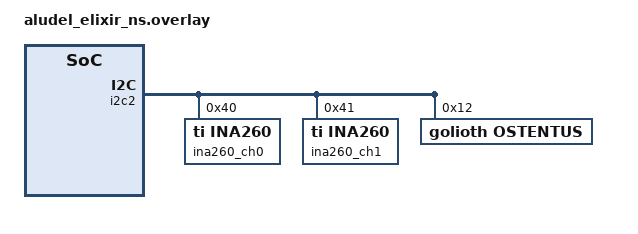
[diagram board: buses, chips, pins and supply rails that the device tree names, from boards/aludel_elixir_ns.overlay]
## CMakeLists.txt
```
# Copyright (c) 2022-2023 Golioth, Inc.
# SPDX-License-Identifier: Apache-2.0

cmake_minimum_required(VERSION 3.20.0)

find_package(Zephyr REQUIRED HINTS $ENV{ZEPHYR_BASE})

project(powermonitor)

target_sources(app PRIVATE src/main.c)
target_sources(app PRIVATE src/app_rpc.c)
target_sources(app PRIVATE src/app_settings.c)
target_sources(app PRIVATE src/app_state.c)
target_sources(app PRIVATE src/app_sensors.c)
```

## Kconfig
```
# Copyright (c) 2022-2023 Golioth, Inc.
# SPDX-License-Identifier: Apache-2.0

mainmenu "Golioth application options"

if DNS_RESOLVER

config DNS_SERVER_IP_ADDRESSES
	default y

config DNS_SERVER1
	default "1.1.1.1"

endif # DNS_RESOLVER

rsource "drivers/Kconfig"
rsource "src/battery_monitor/Kconfig"

source "Kconfig.zephyr"
```

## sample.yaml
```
# Copyright (c) 2022-2023 Golioth, Inc.
# SPDX-License-Identifier: Apache-2.0

sample:
  description: Golioth Power Monitor Reference Design
  name: powermonitor
common:
  harness: net
  platform_allow: >
    nrf9160dk_nrf9160_ns
  tags: golioth
```

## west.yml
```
# Copyright (c) 2022-2023 Golioth, Inc.
# SPDX-License-Identifier: Apache-2.0

manifest:
  version: 1.0

  projects:
    - name: golioth
      path: modules/lib/golioth-firmware-sdk
      revision: v0.21.0
      url: https://github.com/golioth/golioth-firmware-sdk.git
      west-commands: scripts/west-commands.yml
      submodules: true
      import:
        file: west-ncs.yml
        path-prefix: deps
        name-allowlist:
          - nrf
          - zephyr
          - cmsis_6
          - hal_nordic
          - mbedtls
          - mbedtls-nrf
          - mcuboot
          - net-tools
          - nrfxlib
          - oberon-psa-crypto
          - qcbor
          - segger
          - tfm-mcuboot
          - tinycrypt
          - trusted-firmware-m
          - zcbor

    - name: golioth-zephyr-boards
      path: deps/modules/lib/golioth-boards
      revision: v2.1.1
      url: https://github.com/golioth/golioth-zephyr-boards

    - name: libostentus
      path: deps/modules/lib/libostentus
      revision: v2.0.0
      url: https://github.com/golioth/libostentus

    - name: zephyr-network-info
      path: deps/modules/lib/network-info
      revision: v1.2.0
      url: https://github.com/golioth/zephyr-network-info

    - name: golioth-battery-monitor
      path: deps/modules/lib/battery-monitor
      revision: v1.1.0
      url: https://github.com/golioth/battery-monitor

    - name: golioth-ina260-driver
      path: deps/modules/lib/ina260
      revision: v1.0.0
      url: https://github.com/golioth/zephyr-ina260.git

  self:
    path: app
```

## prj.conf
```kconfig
# Copyright (c) 2022-2023 Golioth, Inc.
# SPDX-License-Identifier: Apache-2.0

# Enable Golioth Firmware SDK
CONFIG_GOLIOTH_FIRMWARE_SDK=y

# Golioth services used in this app
CONFIG_GOLIOTH_FW_UPDATE=y
CONFIG_GOLIOTH_LIGHTDB_STATE=y
CONFIG_LOG_BACKEND_GOLIOTH=y
CONFIG_GOLIOTH_RPC=y
CONFIG_GOLIOTH_SETTINGS=y
CONFIG_GOLIOTH_STREAM=y

# Enable common sample library
CONFIG_GOLIOTH_SAMPLE_COMMON=y

# Configure Golioth SDK dependencies
CONFIG_ZVFS_EVENTFD_MAX=14
CONFIG_ZVFS_OPEN_MAX=23
CONFIG_LOG_PROCESS_THREAD_STACK_SIZE=1536
CONFIG_MBEDTLS_ENABLE_HEAP=y
CONFIG_MBEDTLS_HEAP_SIZE=10240
CONFIG_NETWORKING=y
CONFIG_NET_IPV4=y
CONFIG_COAP_EXTENDED_OPTIONS_LEN=y
CONFIG_COAP_EXTENDED_OPTIONS_LEN_VALUE=39

# Application
CONFIG_MAIN_STACK_SIZE=2048
CONFIG_NET_LOG=y
CONFIG_NET_SHELL=y
CONFIG_REBOOT=y

# Flash memory (etc.) for firmware upgrade
CONFIG_FLASH=y
CONFIG_FLASH_MAP=y
CONFIG_NVS=y
CONFIG_STREAM_FLASH=y
CONFIG_IMG_MANAGER=y
CONFIG_IMG_ERASE_PROGRESSIVELY=y
CONFIG_REBOOT=y

# The rest of the runtime credentials config
CONFIG_SETTINGS=y
CONFIG_SETTINGS_RUNTIME=y
CONFIG_GOLIOTH_SAMPLE_SETTINGS_AUTOLOAD=y
CONFIG_GOLIOTH_SAMPLE_SETTINGS_SHELL=y

# Misc.
CONFIG_JSON_LIBRARY=y

# Longer response length needed for network info
CONFIG_GOLIOTH_RPC_MAX_RESPONSE_LEN=512
CONFIG_I2C=y

CONFIG_SENSOR=y

# Support float with snprintk
CONFIG_CBPRINTF_FP_SUPPORT=y
```

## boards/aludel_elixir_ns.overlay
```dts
&i2c2 {
	/* Needed for I2C writes used by libostentus */
	zephyr,concat-buf-size = <48>;

	ina260_ch0: ina260@40 {
		compatible = "ti,ina260";
		reg = <0x40>;
	};
	ina260_ch1: ina260@41 {
		compatible = "ti,ina260";
		reg = <0x41>;
	};

	ostentus@12 {
		status = "okay";
		compatible = "golioth,ostentus";
		reg = <0x12>;
	};
};
```

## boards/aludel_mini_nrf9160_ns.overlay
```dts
&i2c2 {
	/* Needed for I2C writes used by libostentus */
	zephyr,concat-buf-size = <48>;

	ina260_ch0: ina260@40 {
		compatible = "ti,ina260";
		reg = <0x40>;
	};
	ina260_ch1: ina260@41 {
		compatible = "ti,ina260";
		reg = <0x41>;
	};

	ostentus@12 {
		status = "okay";
		compatible = "golioth,ostentus";
		reg = <0x12>;
	};
};

&adc {
	#address-cells = <1>;
	#size-cells = <0>;

	channel@7 {
		reg = <7>;
		zephyr,gain = "ADC_GAIN_1_6";
		zephyr,reference = "ADC_REF_INTERNAL";
		zephyr,acquisition-time = <ADC_ACQ_TIME(ADC_ACQ_TIME_MICROSECONDS, 40)>;
		zephyr,input-positive = <NRF_SAADC_AIN7>;
		zephyr,resolution = <14>;
	};
};
```

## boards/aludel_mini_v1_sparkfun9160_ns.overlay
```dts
&i2c1 {
	zephyr,concat-buf-size = <48>;

	ina260_ch0: ina260@40 {
		compatible = "ti,ina260";
		reg = <0x40>;
	};
	ina260_ch1: ina260@41 {
		compatible = "ti,ina260";
		reg = <0x41>;
	};
};
```

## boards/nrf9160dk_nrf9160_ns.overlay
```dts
/*
 * Copyright (c) 2023 Golioth, Inc.
 *
 * SPDX-License-Identifier: Apache-2.0
 */

/ {
	aliases {
		golioth-led = &led2;
	};
};

&arduino_i2c {
	/* Needed for I2C writes used by libostentus */
	zephyr,concat-buf-size = <48>;

	ina260_ch0: ina260@40 {
		compatible = "ti,ina260";
		reg = <0x40>;
	};
	ina260_ch1: ina260@41 {
		compatible = "ti,ina260";
		reg = <0x41>;
	};
};

&pinctrl {
	/*
	 * Arduino Uno provides the same SCL/SDA on two sets of pins, but the
	 * nRF9160-DK maps these pins to two different pairs of GPIO. When using
	 * the Arduino Uno Click Shield board, the P0.18/P0.19 pair must be used.
	 */
	i2c2_default: i2c2_default {
		group1 {
			psels = <NRF_PSEL(TWIM_SDA, 0, 18)>,
				<NRF_PSEL(TWIM_SCL, 0, 19)>;
			bias-pull-up; /* Added for VCP Monitor Click with pull-ups removed */
		};
	};

	i2c2_sleep: i2c2_sleep {
		group1 {
			psels = <NRF_PSEL(TWIM_SDA, 0, 18)>,
				<NRF_PSEL(TWIM_SCL, 0, 19)>;
			low-power-enable;
		};
	};

	/*
	 * The default pin group includes RTS/CTS HW flow control, but the Arduino
	 * Uno Click Shield board does not connect these pins (only TX/RX are used).
	 * This keeps RX/TX on the same pins, but just removes RTS/CTS from the
	 * pin groups.
	 */
	uart1_default: uart1_default {
		group1 {
			psels = <NRF_PSEL(UART_TX, 0, 1)>,
				<NRF_PSEL(UART_RX, 0, 0)>;
		};
	};

	uart1_sleep: uart1_sleep {
		group1 {
			psels = <NRF_PSEL(UART_TX, 0, 1)>,
				<NRF_PSEL(UART_RX, 0, 0)>;
			low-power-enable;
		};
	};
};
```

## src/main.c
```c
/*
 * Copyright (c) 2022-2023 Golioth, Inc.
 *
 * SPDX-License-Identifier: Apache-2.0
 */

#include <zephyr/logging/log.h>
LOG_MODULE_REGISTER(golioth_powermonitor, LOG_LEVEL_DBG);

#include <app_version.h>
#include "app_rpc.h"
#include "app_settings.h"
#include "app_state.h"
#include "app_sensors.h"
#include <golioth/client.h>
#include <golioth/fw_update.h>
#include <samples/common/net_connect.h>
#include <samples/common/sample_credentials.h>
#include <zephyr/kernel.h>

#ifdef CONFIG_SOC_SERIES_NRF91X
#include <modem/lte_lc.h>
#endif
#ifdef CONFIG_LIB_OSTENTUS
#include <libostentus.h>
#include <libostentus_regmap.h>
static const struct device *o_dev = DEVICE_DT_GET_ANY(golioth_ostentus);
#endif
#ifdef CONFIG_ALUDEL_BATTERY_MONITOR
#include <battery_monitor.h>
#endif

#include <zephyr/drivers/gpio.h>

#ifdef CONFIG_MODEM_INFO
#include <modem/modem_info.h>
#endif

/* Current firmware version; update in VERSION */
static const char *_current_version =
	STRINGIFY(APP_VERSION_MAJOR) "." STRINGIFY(APP_VERSION_MINOR) "." STRINGIFY(APP_PATCHLEVEL);

static struct golioth_client *client;
K_SEM_DEFINE(connected, 0, 1);

static k_tid_t _system_thread = 0;

#if DT_NODE_EXISTS(DT_ALIAS(golioth_led))
static const struct gpio_dt_spec golioth_led = GPIO_DT_SPEC_GET(DT_ALIAS(golioth_led), gpios);
#endif /* DT_NODE_EXISTS(DT_ALIAS(golioth_led)) */
static const struct gpio_dt_spec user_btn = GPIO_DT_SPEC_GET(DT_ALIAS(sw1), gpios);
static struct gpio_callback button_cb_data;

/* forward declarations */
void golioth_connection_led_set(uint8_t state);

void wake_system_thread(void)
{
	k_wakeup(_system_thread);
}

static void on_client_event(struct golioth_client *client, enum golioth_client_event event,
			    void *arg)
{
	bool is_connected = (event == GOLIOTH_CLIENT_EVENT_CONNECTED);

	if (is_connected) {
		k_sem_give(&connected);
		golioth_connection_led_set(1);
	}
	LOG_INF("Golioth client %s", is_connected ? "connected" : "disconnected");
}

static void start_golioth_client(void)
{
	/* Get the client configuration from auto-loaded settings */
	const struct golioth_client_config *client_config = golioth_sample_credentials_get();

	/* Create and start a Golioth Client */
	client = golioth_client_create(client_config);

	/* Register Golioth on_connect callback */
	golioth_client_register_event_callback(client, on_client_event, NULL);

	/* Initialize DFU components */
	golioth_fw_update_init(client, _current_version);

	/*** Call Golioth APIs for other services in dedicated app files ***/

	/* Observe State service data */
	app_state_observe(client);

	/* Set Golioth Client for streaming sensor data */
	app_sensors_set_client(client);

	/* Register Settings service */
	app_settings_register(client);

	/* Register RPC service */
	app_rpc_register(client);
}

#ifdef CONFIG_SOC_SERIES_NRF91X

static void lte_handler(const struct lte_lc_evt *const evt)
{
	if (evt->type == LTE_LC_EVT_NW_REG_STATUS) {

		if ((evt->nw_reg_status == LTE_LC_NW_REG_REGISTERED_HOME) ||
		    (evt->nw_reg_status == LTE_LC_NW_REG_REGISTERED_ROAMING)) {

			/* Change the state of the Internet LED on Ostentus */
			IF_ENABLED(CONFIG_LIB_OSTENTUS, (ostentus_led_internet_set(o_dev, 1);));

			if (!client) {
				/* Create and start a Golioth Client */
				start_golioth_client();
			}
		}
	}
}

#endif /* CONFIG_SOC_SERIES_NRF91X */

#ifdef CONFIG_MODEM_INFO
static void log_modem_firmware_version(void)
{
	char sbuf[128];

	/* Initialize modem info */
	int err = modem_info_init();

	if (err) {
		LOG_ERR("Failed to initialize modem info: %d", err);
	}

	/* Log modem firmware version */
	modem_info_string_get(MODEM_INFO_FW_VERSION, sbuf, sizeof(sbuf));
	LOG_INF("Modem firmware version: %s", sbuf);
}
#endif

void button_pressed(const struct device *dev, struct gpio_callback *cb, uint32_t pins)
{
	LOG_DBG("Button pressed at %d", k_cycle_get_32());
	/* This function is an Interrupt Service Routine. Do not call functions that
	 * use other threads, or perform long-running operations here
	 */
	k_wakeup(_system_thread);
}

/* Set (unset) LED indicators for active Golioth connection */
void golioth_connection_led_set(uint8_t state)
{
	uint8_t pin_state = state ? 1 : 0;
	ARG_UNUSED(pin_state); /* silence warning if no LED/Ostentus present */

	/* Turn on Golioth logo LED once connected */
	IF_ENABLED(DT_NODE_EXISTS(DT_ALIAS(golioth_led)),
		(gpio_pin_set_dt(&golioth_led, pin_state);));

	/* Change the state of the Golioth LED on Ostentus */
	IF_ENABLED(CONFIG_LIB_OSTENTUS, (ostentus_led_golioth_set(o_dev, pin_state);));
}

int main(void)
{
	int err;

	LOG_DBG("Start Power Monitor Reference Design");

	LOG_INF("Firmware version: %s", _current_version);
	IF_ENABLED(CONFIG_MODEM_INFO, (log_modem_firmware_version();));

	IF_ENABLED(CONFIG_LIB_OSTENTUS, (
		/* Reset Ostentus and pause for reboot */
		ostentus_reset(o_dev);
		k_msleep(300);

		/* Read firmware version from faceplate */
		char *o_version = (char *)calloc(32, sizeof(char));

		ostentus_version_get(o_dev, o_version, 32);
		LOG_INF("Ostentus reports firmware version: %s", o_version);
		free(o_version);

		/* Update Ostentus LEDS using bitmask (Power On and Battery) */
		ostentus_led_bitmask(o_dev, LED_POW | LED_BAT);

		/* Show Golioth Logo on Ostentus ePaper screen */
		ostentus_show_splash(o_dev);
	));

	/* Get system thread id so loop delay change event can wake main */
	_system_thread = k_current_get();

	/* Initialize Sensors */
	app_sensors_init();

#if DT_NODE_EXISTS(DT_ALIAS(golioth_led))
	/* Initialize Golioth logo LED */
	err = gpio_pin_configure_dt(&golioth_led, GPIO_OUTPUT_INACTIVE);
	if (err) {
		LOG_ERR("Unable to configure LED for Golioth Logo");
	}
#endif /* #if DT_NODE_EXISTS(DT_ALIAS(golioth_led)) */

#ifdef CONFIG_SOC_SERIES_NRF91X
	/* Start LTE asynchronously if the nRF9160 is used.
	 * Golioth Client will start automatically when LTE connects
	 */

	LOG_INF("Connecting to LTE, this may take some time...");
	lte_lc_connect_async(lte_handler);

#else
	/* If nRF9160 is not used, start the Golioth Client and block until connected */

	/* Run WiFi/DHCP if necessary */
	if (IS_ENABLED(CONFIG_GOLIOTH_SAMPLE_COMMON)) {
		net_connect();
	}

	/* Start Golioth client */
	start_golioth_client();

	/* Block until connected to Golioth */
	k_sem_take(&connected, K_FOREVER);
#endif /* CONFIG_SOC_SERIES_NRF91X */

	/* Set up user button */
	err = gpio_pin_configure_dt(&user_btn, GPIO_INPUT);
	if (err) {
		LOG_ERR("Error %d: failed to configure %s pin %d", err, user_btn.port->name,
			user_btn.pin);
		return err;
	}

	err = gpio_pin_interrupt_configure_dt(&user_btn, GPIO_INT_EDGE_TO_ACTIVE);
	if (err) {
		LOG_ERR("Error %d: failed to configure interrupt on %s pin %d", err,
			user_btn.port->name, user_btn.pin);
		return err;
	}

	gpio_init_callback(&button_cb_data, button_pressed, BIT(user_btn.pin));
	gpio_add_callback(user_btn.port, &button_cb_data);

	IF_ENABLED(CONFIG_LIB_OSTENTUS,(
		/* Set up a slideshow on Ostentus
		 *  - add up to 256 slides
		 *  - use the enum in app_sensors.h to add new keys
		 *  - values are updated using these keys (see app_sensors.c)
		 */
		ostentus_slide_add(o_dev, CH0_CURRENT, CH0_CUR_LABEL, strlen(CH0_CUR_LABEL));
		ostentus_slide_add(o_dev, CH0_POWER, CH0_POW_LABEL, strlen(CH0_POW_LABEL));
		ostentus_slide_add(o_dev, CH0_VOLTAGE, CH0_VOL_LABEL, strlen(CH0_VOL_LABEL));
		ostentus_slide_add(o_dev, CH1_CURRENT, CH1_CUR_LABEL, strlen(CH1_CUR_LABEL));
		ostentus_slide_add(o_dev, CH1_POWER, CH1_POW_LABEL, strlen(CH1_POW_LABEL));
		ostentus_slide_add(o_dev, CH1_VOLTAGE, CH1_VOL_LABEL, strlen(CH1_VOL_LABEL));
		IF_ENABLED(CONFIG_ALUDEL_BATTERY_MONITOR, (
			ostentus_slide_add(o_dev,
					   BATTERY_V,
					   LABEL_BATTERY,
					   strlen(LABEL_BATTERY));
			ostentus_slide_add(o_dev,
					   BATTERY_PCT,
					   LABEL_BATTERY,
					   strlen(LABEL_BATTERY));
		));
		ostentus_slide_add(o_dev, FIRMWARE, LABEL_FIRMWARE, strlen(LABEL_FIRMWARE));

		/* Set the title of the Ostentus summary slide (optional) */
		ostentus_summary_title(o_dev, SUMMARY_TITLE, strlen(SUMMARY_TITLE));

		/* Update the Firmware slide with the firmware version */
		ostentus_slide_set(o_dev, FIRMWARE, (char *)_current_version,
			  strlen(_current_version));

		/* Start Ostentus slideshow with 30 second delay between slides */
		ostentus_slideshow(o_dev, 30000);
	));

	while (true) {
		app_sensors_read_and_stream();

		k_sleep(K_SECONDS(get_loop_delay_s()));
	}
}
```

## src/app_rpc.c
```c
/*
 * Copyright (c) 2022 Golioth, Inc.
 *
 * SPDX-License-Identifier: Apache-2.0
 */

#include <zephyr/logging/log.h>
#include <zephyr/logging/log_ctrl.h>
LOG_MODULE_REGISTER(app_rpc, LOG_LEVEL_DBG);

#include <net/golioth/system_client.h>
#include <net/golioth/rpc.h>
#include <zephyr/logging/log_ctrl.h>
#include <zephyr/sys/reboot.h>

#include <network_info.h>
#include "app_rpc.h"

static struct golioth_client *client;

static void reboot_work_handler(struct k_work *work)
{
	for (int8_t i = 5; i >= 0; i--) {
		if (i) {
			LOG_INF("Rebooting in %d seconds...", i);
		}
		k_sleep(K_SECONDS(1));
	}

	/* Sync logs before reboot */
	LOG_PANIC();

	sys_reboot(SYS_REBOOT_COLD);
}
K_WORK_DEFINE(reboot_work, reboot_work_handler);

static enum golioth_rpc_status on_get_network_info(zcbor_state_t *request_params_array,
						   zcbor_state_t *response_detail_map,
					  	   void *callback_arg)
{
	network_info_add_to_map(response_detail_map);

	return GOLIOTH_RPC_OK;
}

static enum golioth_rpc_status on_set_log_level(zcbor_state_t *request_params_array,
						zcbor_state_t *response_detail_map,
					  	void *callback_arg)
{
	double param_0;
	uint8_t log_level;
	bool ok;

	LOG_WRN("on_set_log_level");

	ok = zcbor_float_decode(request_params_array, &param_0);
	if (!ok) {
		LOG_ERR("Failed to decode array item");
		return GOLIOTH_RPC_INVALID_ARGUMENT;
	}

	log_level = (uint8_t)param_0;

	if ((log_level < 0) || (log_level > LOG_LEVEL_DBG)) {

		LOG_ERR("Requested log level is out of bounds: %d", log_level);
		return GOLIOTH_RPC_INVALID_ARGUMENT;
	}

	int source_id = 0;
	char *source_name;

	while (1) {
		source_name = (char *)log_source_name_get(0, source_id);
		if (source_name == NULL) {
			break;
		}

		log_filter_set(NULL, 0, source_id, log_level);
		++source_id;
	}

	LOG_WRN("Log levels for %d modules set to: %d", source_id, log_level);

	ok = zcbor_tstr_put_lit(response_detail_map, "log_modules") &&
	     zcbor_float64_put(response_detail_map, (double)source_id);

	return GOLIOTH_RPC_OK;
}

static enum golioth_rpc_status on_reboot(zcbor_state_t *request_params_array,
					 zcbor_state_t *response_detail_map,
					 void *callback_arg)
{
	/* Use work queue so this RPC can return confirmation to Golioth */
	k_work_submit(&reboot_work);

	return GOLIOTH_RPC_OK;
}

static void rpc_log_if_register_failure(int err)
{
	if (err) {
		LOG_ERR("Failed to register RPC: %d", err);
	}
}

int app_rpc_init(struct golioth_client *state_client)
{
	client = state_client;
	int err = app_rpc_register(client);
	return err;
}

int app_rpc_observe(void)
{
	int err = golioth_rpc_observe(client);

	if (err) {
		LOG_ERR("Failed to observe RPC: %d", err);
	}
	return err;
}

int app_rpc_register(struct golioth_client *rpc_client)
{
	int err;

	err = golioth_rpc_register(rpc_client, "get_network_info", on_get_network_info, NULL);
	rpc_log_if_register_failure(err);

	err = golioth_rpc_register(rpc_client, "reboot", on_reboot, NULL);
	rpc_log_if_register_failure(err);

	err = golioth_rpc_register(rpc_client, "set_log_level", on_set_log_level, NULL);
	rpc_log_if_register_failure(err);

	return err;
}
```

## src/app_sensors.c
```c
/*
 * Copyright (c) 2022-2023 Golioth, Inc.
 *
 * SPDX-License-Identifier: Apache-2.0
 */

#include <zephyr/logging/log.h>
LOG_MODULE_REGISTER(app_sensors, LOG_LEVEL_DBG);

#include <stdlib.h>
#include <golioth/client.h>
#include <golioth/lightdb_state.h>
#include <golioth/stream.h>
#include <zcbor_decode.h>
#include <zephyr/device.h>
#include <zephyr/drivers/i2c.h>
#include <zephyr/drivers/gpio.h>
#include <zephyr/drivers/sensor.h>
#include <zephyr/drivers/sensor/ina260.h>
#include <zephyr/drivers/spi.h>

#include "app_sensors.h"
#include "app_state.h"
#include "app_settings.h"


/* Convert DC reading to actual value */
int64_t calculate_reading(uint8_t upper, uint8_t lower)
{
	int16_t raw = (upper<<8) | lower;
	uint64_t big = raw * 125;
	return big;
}

#define SPI_OP	SPI_OP_MODE_MASTER | SPI_MODE_CPOL | SPI_MODE_CPHA | SPI_WORD_SET(8) | SPI_LINES_SINGLE

#ifdef CONFIG_LIB_OSTENTUS
#include <libostentus.h>
static const struct device *o_dev = DEVICE_DT_GET_ANY(golioth_ostentus);
#endif
#ifdef CONFIG_ALUDEL_BATTERY_MONITOR
#include <battery_monitor.h>
#endif

static struct golioth_client *client;

struct k_sem adc_data_sem;

/* Formatting string for sending sensor JSON to Golioth */
#define JSON_FMT "{\"cur\":{\"ch0\":%d,\"ch1\":%d},\"vol\":{\"ch0\":%d,\"ch1\":%d},\"pow\":{\"ch0\":%d,\"ch1\":%d}}"
#define JSON_FMT_SINGLE "{\"cur\":{\"%s\":%d},\"vol\":{\"%s\":%d},\"pow\":{\"%s\":%d}}"
#define CH0_PATH "ch0"
#define CH1_PATH "ch1"
#define ADC_STREAM_ENDP	"sensor"
#define ADC_CUMULATIVE_ENDP	"state/cumulative"

#define ADC_CH0 0
#define ADC_CH1 1

adc_node_t adc_ch0 = {
	.dev = DEVICE_DT_GET(DT_NODELABEL(ina260_ch0)),
	.ch_num = ADC_CH0,
	.laston = -1,
	.runtime = 0,
	.total_unreported = 0,
	.total_cloud = 0,
	.loaded_from_cloud = false,
	.device_ready = false
};

adc_node_t adc_ch1 = {
	.dev = DEVICE_DT_GET(DT_NODELABEL(ina260_ch1)),
	.ch_num = ADC_CH1,
	.laston = -1,
	.runtime = 0,
	.total_unreported = 0,
	.total_cloud = 0,
	.loaded_from_cloud = false,
	.device_ready = false
};

void get_ontime(struct ontime *ot)
{
	ot->ch0 = adc_ch0.runtime;
	ot->ch1 = adc_ch1.runtime;
}

/* Callback for LightDB Stream */
static void async_error_handler(struct golioth_client *client, enum golioth_status status,
				const struct golioth_coap_rsp_code *coap_rsp_code, const char *path,
				void *arg)
{
	if (status != GOLIOTH_OK) {
		LOG_ERR("Async task failed: %d", status);
		return;
	}
}

static int get_adc_reading(adc_node_t *adc)
{
	int err;

	err = sensor_sample_fetch(adc->dev);
	if (err) {
		LOG_ERR("Error fetching sensor values from %s: %d", adc->dev->name, err);
		adc->device_ready = false;
		return err;
	}

	adc->device_ready = true;
	return 0;
}

static int log_sensor_values(adc_node_t *sensor, bool get_new_reading)
{
	int err;

	if (get_new_reading) {
		err = get_adc_reading(sensor);
		if (err) {
			return err;
		}
	}

	if (sensor->device_ready) {
		struct sensor_value cur, pow, vol;

		sensor_channel_get(sensor->dev,
				   (enum sensor_channel)SENSOR_CHAN_VOLTAGE,
				   &vol);
		sensor_channel_get(sensor->dev,
				   (enum sensor_channel)SENSOR_CHAN_CURRENT,
					   &cur);
		sensor_channel_get(sensor->dev,
				   (enum sensor_channel)SENSOR_CHAN_POWER,
				   &pow);

		LOG_INF("Device: %s, %f V, %f A, %f W",
			sensor->dev->name,
			sensor_value_to_double(&vol),
			sensor_value_to_double(&cur),
			sensor_value_to_double(&pow)
			);

		IF_ENABLED(CONFIG_LIB_OSTENTUS, (
			char ostentus_buf[32];
			uint8_t slide_num;

			snprintk(ostentus_buf, sizeof(ostentus_buf), "%.02f V",
				 sensor_value_to_double(&vol));
			slide_num = (sensor->ch_num == 0) ? CH0_VOLTAGE : CH1_VOLTAGE;
			ostentus_slide_set(o_dev, slide_num, ostentus_buf, strlen(ostentus_buf));

			snprintk(ostentus_buf, sizeof(ostentus_buf), "%.02f mA",
				 sensor_value_to_double(&cur) * 1000);
			slide_num = (sensor->ch_num == 0) ? CH0_CURRENT : CH1_CURRENT;
			ostentus_slide_set(o_dev, slide_num, ostentus_buf, strlen(ostentus_buf));

			snprintk(ostentus_buf, sizeof(ostentus_buf), "%.02f W",
				 sensor_value_to_double(&pow));
			slide_num = (sensor->ch_num == 0) ? CH0_POWER : CH1_POWER;
			ostentus_slide_set(o_dev, slide_num, ostentus_buf, strlen(ostentus_buf));
		));
	} else {
		return -ENODATA;
	}

	return 0;
}

static int get_raw_sensor_values(adc_node_t *sensor, vcp_raw_t *values, bool get_new_reading)
{
	int err;

	if (get_new_reading) {
		err = get_adc_reading(sensor);
		if (err) {
			return err;
		}
	}

	if (sensor->device_ready) {
		struct sensor_value raw;

		sensor_channel_get(sensor->dev,
				   (enum sensor_channel)SENSOR_CHAN_INA260_VOLTAGE_RAW,
				   &raw);
		values->voltage = raw.val1;

		sensor_channel_get(sensor->dev,
				   (enum sensor_channel)SENSOR_CHAN_INA260_CURRENT_RAW,
				   &raw);
		values->current = raw.val1;

		sensor_channel_get(sensor->dev,
				   (enum sensor_channel)SENSOR_CHAN_INA260_POWER_RAW,
				   &raw);
		values->power = raw.val1;

	} else {
		return -ENODATA;
	}

	return 0;
}

static int push_dual_adc_to_golioth(vcp_raw_t *ch0_raw, vcp_raw_t *ch1_raw)
{
	/* Only stream sensor data if connected */
	if (false == golioth_client_is_connected(client)) {
		return GOLIOTH_ERR_INVALID_STATE;
	}

	int err;
	char json_buf[128];

	snprintk(json_buf,
		 sizeof(json_buf),
		 JSON_FMT,
		 ch0_raw->current,
		 ch1_raw->current,
		 ch0_raw->voltage,
		 ch1_raw->voltage,
		 ch0_raw->power,
		 ch1_raw->power
		 );

	err = golioth_stream_set_async(client,
				       ADC_STREAM_ENDP,
				       GOLIOTH_CONTENT_TYPE_JSON,
				       json_buf,
				       strlen(json_buf),
				       async_error_handler,
				       NULL);
	if (err) {
		LOG_ERR("Failed to send sensor data to Golioth: %d", err);
		return err;
	}

	app_state_report_ontime(&adc_ch0, &adc_ch1);

	return 0;
}

static int push_single_adc_to_golioth(vcp_raw_t *single_ch_data, char *single_ch_path)
{
	/* Only stream sensor data if connected */
	if (false == golioth_client_is_connected(client)) {
		return GOLIOTH_ERR_INVALID_STATE;
	}

	int err;
	char json_buf[128];

	snprintk(json_buf,
		 sizeof(json_buf),
		 JSON_FMT_SINGLE,
		 single_ch_path,
		 single_ch_data->current,
		 single_ch_path,
		 single_ch_data->voltage,
		 single_ch_path,
		 single_ch_data->power
		 );

	err = golioth_stream_set_async(client,
				       ADC_STREAM_ENDP,
				       GOLIOTH_CONTENT_TYPE_JSON,
				       json_buf,
				       strlen(json_buf),
				       async_error_handler,
				       NULL);
	if (err) {
		LOG_ERR("Failed to send sensor data to Golioth: %d", err);
		return err;
	}

	app_state_report_ontime(&adc_ch0, &adc_ch1);

	return 0;
}

static int update_ontime(int16_t adc_value, adc_node_t *ch)
{
	if (k_sem_take(&adc_data_sem, K_MSEC(300)) == 0) {
		if (adc_value <= get_adc_floor(ch->ch_num)) {
			ch->runtime = 0;
			ch->laston = -1;
		}
		else {
			int64_t ts = k_uptime_get();
			int64_t duration;
			if (ch->laston > 0) {
				duration = ts - ch->laston;
			} else {
				duration = 1;
			}
			ch->runtime += duration;
			ch->laston = ts;
			ch->total_unreported += duration;
		}
		k_sem_give(&adc_data_sem);
		return 0;
	}
	else {
		return -EACCES;
	}
}

int reset_cumulative_totals(void)
{
	if (k_sem_take(&adc_data_sem, K_MSEC(5000)) == 0) {
		k_sem_give(&adc_data_sem);
		adc_ch0.total_cloud = 0;
		adc_ch1.total_cloud = 0;
		adc_ch0.total_unreported = 0;
		adc_ch1.total_unreported = 0;
		k_sem_give(&adc_data_sem);
	} else {
		LOG_ERR("Could not reset cumulative values; blocked by semaphore.");
		return -EACCES;
	}

	/* Send new values to Golioth */
	int err = app_state_report_ontime(&adc_ch0, &adc_ch1);

	if (err) {
		LOG_ERR("Unable to send ontime to server: %d", err);
	}

	return err;
}

/* This will be called by the main() loop */
/* Do all of your work here! */
void app_sensors_read_and_stream(void)
{
	int err;
	vcp_raw_t ch0_raw, ch1_raw;
	int ch0_invalid, ch1_invalid;

	IF_ENABLED(CONFIG_ALUDEL_BATTERY_MONITOR, (
		read_and_report_battery(client);
		IF_ENABLED(CONFIG_LIB_OSTENTUS, (
			ostentus_slide_set(o_dev,
					   BATTERY_V,
					   get_batt_v_str(),
					   strlen(get_batt_v_str()));
			ostentus_slide_set(o_dev,
					   BATTERY_PCT,
					   get_batt_pct_str(),
					   strlen(get_batt_pct_str()));
		));
	));

	/* Fetch new readings from sensors */
	get_adc_reading(&adc_ch0);
	get_adc_reading(&adc_ch1);

	/* Get raw readings from the sensor api */
	ch0_invalid = get_raw_sensor_values(&adc_ch0, &ch0_raw, false);
	ch1_invalid = get_raw_sensor_values(&adc_ch1, &ch1_raw, false);

	if (ch0_invalid && ch1_invalid) {
		LOG_WRN("Data not available from any sensor");
		return;
	}

	/* Log the readings */
	log_sensor_values(&adc_ch0, false);
	log_sensor_values(&adc_ch1, false);

	/* Calculate the "On" time if readings are not zero */
	if (!ch0_invalid) {
		err = update_ontime(ch0_raw.current, &adc_ch0);
		if (err) {
			LOG_ERR("Failed up update ontime: %d", err);
		}
	}
	if (!ch1_invalid) {
		err = update_ontime(ch1_raw.current, &adc_ch1);
		if (err) {
			LOG_ERR("Failed up update ontime: %d", err);
		}
	}
	LOG_DBG("Ontime:\t(ch0): %lld\t(ch1): %lld", adc_ch0.runtime, adc_ch1.runtime);

	/* Send sensor data to Golioth */
	if (!ch0_invalid && !ch1_invalid) {
		push_dual_adc_to_golioth(&ch0_raw, &ch1_raw);
	} else if (!ch0_invalid) {
		push_single_adc_to_golioth(&ch0_raw, CH0_PATH);
	} else if (!ch1_invalid) {
		push_single_adc_to_golioth(&ch1_raw, CH1_PATH);
	}
}

static void get_cumulative_handler(struct golioth_client *client, enum golioth_status status,
				   const struct golioth_coap_rsp_code *coap_rsp_code,
				   const char *path, const uint8_t *payload, size_t payload_size,
				   void *arg)
{
	if (status != GOLIOTH_OK) {
		LOG_ERR("Failed to receive '%s' endpoint: %d", APP_STATE_DESIRED_ENDP, status);
		return;
	}

	if ((payload_size == 1) && (payload[0] == 0xf6)) {
		/* 0xf6 is Null in CBOR */
		if (k_sem_take(&adc_data_sem, K_MSEC(300)) == 0) {
			adc_ch0.loaded_from_cloud = true;
			adc_ch1.loaded_from_cloud = true;
			k_sem_give(&adc_data_sem);
		}
		return;
	}

	uint64_t decoded_ch0 = 0;
	uint64_t decoded_ch1 = 0;
	bool found_ch0 = 0;
	bool found_ch1 = 0;

	struct zcbor_string key;
	uint64_t data;
	bool ok;

	ZCBOR_STATE_D(decoding_state, 1, payload, payload_size, 1, NULL);
	ok = zcbor_map_start_decode(decoding_state);
	if (!ok) {
		goto cumulative_decode_error;
	}

	while (decoding_state->elem_count > 1) {
		ok = zcbor_tstr_decode(decoding_state, &key) &&
		     zcbor_uint64_decode(decoding_state, &data);
		if (!ok) {
			goto cumulative_decode_error;
		}

		if (strncmp(key.value, "ch0", 3) == 0) {
			found_ch0 = true;
			decoded_ch0 = data;
		} else if (strncmp(key.value, "ch1", 3) == 0){
			found_ch1 = true;
			decoded_ch1 = data;
		} else {
			continue;
		}
	}

	if ((found_ch0 && found_ch1) == false) {
		goto cumulative_decode_error;
	} else {
		LOG_DBG("Decoded: ch0: %lld, ch1: %lld", decoded_ch0, decoded_ch1);
		if (k_sem_take(&adc_data_sem, K_MSEC(300)) == 0) {
			adc_ch0.total_cloud = decoded_ch0;
			adc_ch1.total_cloud = decoded_ch1;
			adc_ch0.loaded_from_cloud = true;
			adc_ch1.loaded_from_cloud = true;
			k_sem_give(&adc_data_sem);
		}
		return;
	}

cumulative_decode_error:
	LOG_ERR("ZCBOR Decoding Error");
	LOG_HEXDUMP_ERR(payload, payload_size, "cbor_payload");
}

void app_work_on_connect(void)
{
	/* Get cumulative "on" time from Golioth LightDB State */
	int err = golioth_lightdb_get_async(client,
					    ADC_CUMULATIVE_ENDP,
					    GOLIOTH_CONTENT_TYPE_CBOR,
					    get_cumulative_handler,
					    NULL);
	if (err) {
		LOG_WRN("failed to get cumulative channel data from LightDB: %d", err);
	}
}

void app_sensors_set_client(struct golioth_client *sensors_client)
{
	client = sensors_client;
}

void app_sensors_init(void)
{
	k_sem_init(&adc_data_sem, 0, 1);

	if (device_is_ready(adc_ch0.dev)) {
		get_adc_reading(&adc_ch0);
	}

	if (device_is_ready(adc_ch1.dev)) {
		get_adc_reading(&adc_ch1);
	}

	/* Semaphores to handle data access */
	k_sem_give(&adc_data_sem);
}
```

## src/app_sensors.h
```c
/*
 * Copyright (c) 2022-2023 Golioth, Inc.
 *
 * SPDX-License-Identifier: Apache-2.0
 */

#ifndef __APP_SENSORS_H__
#define __APP_SENSORS_H__

#include <stdint.h>
#include <zephyr/drivers/spi.h>
#include <golioth/client.h>

extern struct k_sem adc_data_sem;

struct ontime {
	uint64_t ch0;
	uint64_t ch1;
};

typedef struct {
	const struct  device *const dev;
	uint8_t ch_num;
	int64_t laston;
	uint64_t runtime;
	uint64_t total_unreported;
	uint64_t total_cloud;
	bool loaded_from_cloud;
	bool device_ready;
} adc_node_t;

typedef struct {
	int16_t current;
	int16_t voltage;
	uint16_t power;
} vcp_raw_t;

void get_ontime(struct ontime *ot);
int reset_cumulative_totals(void);
void app_work_on_connect(void);
void app_sensors_set_client(struct golioth_client *sensors_client);
void app_sensors_read_and_stream(void);
void app_sensors_init(void);


/* Ostentus slide labels */
#define LABEL_BATTERY	 "Battery"
#define LABEL_FIRMWARE	 "Firmware"
#define SUMMARY_TITLE	 "Channel 0:"
#define CH0_CUR_LABEL "Current ch0"
#define CH0_VOL_LABEL "Voltage ch0"
#define CH0_POW_LABEL "Power ch0"
#define CH1_CUR_LABEL "Current ch1"
#define CH1_VOL_LABEL "Voltage ch1"
#define CH1_POW_LABEL "Power ch1"


/**
 * Each Ostentus slide needs a unique key. You may add additional slides by
 * inserting elements with the name of your choice to this enum.
 */
typedef enum {
	CH0_CURRENT,
	CH0_POWER,
	CH0_VOLTAGE,
	CH1_CURRENT,
	CH1_POWER,
	CH1_VOLTAGE,
#ifdef CONFIG_ALUDEL_BATTERY_MONITOR
	BATTERY_V,
	BATTERY_PCT,
#endif
	FIRMWARE
} slide_key;

#endif /* __APP_SENSORS_H__ */
```

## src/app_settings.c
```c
/*
 * Copyright (c) 2022-2023 Golioth, Inc.
 *
 * SPDX-License-Identifier: Apache-2.0
 */

#include <zephyr/logging/log.h>
LOG_MODULE_REGISTER(app_settings, LOG_LEVEL_DBG);

#include <golioth/client.h>
#include <golioth/settings.h>
#include "main.h"
#include "app_settings.h"

static int32_t _loop_delay_s = 6;
#define LOOP_DELAY_S_MAX 43200
#define LOOP_DELAY_S_MIN 1

static int16_t _adc_floor[2] = { 0, 0 };
#define ADC_FLOOR_MAX 32767
#define ADC_FLOOR_MIN -32768

int32_t get_loop_delay_s(void)
{
	return _loop_delay_s;
}

int16_t get_adc_floor(uint8_t ch_num)
{
	if (ch_num >= sizeof(_adc_floor)) {
		return 0;
	} else {
		return _adc_floor[ch_num];
	}
}

static enum golioth_settings_status on_loop_delay_setting(int32_t new_value, void *arg)
{
	/* Only update if value has changed */
	if (_loop_delay_s == new_value) {
		LOG_DBG("Received LOOP_DELAY_S already matches local value.");
		return GOLIOTH_SETTINGS_SUCCESS;
	}

	_loop_delay_s = new_value;
	LOG_INF("Set loop delay to %i seconds", new_value);
	wake_system_thread();
	return GOLIOTH_SETTINGS_SUCCESS;
}

static enum golioth_settings_status on_adc_floor_setting(int32_t new_value, void *arg)
{
	uint8_t ch_num = (int)arg;

	/* Only update if value has changed */
	if (_adc_floor[ch_num] == new_value) {
		LOG_DBG("Received ADC_FLOOR_CH%d already matches local value.", ch_num);
		return GOLIOTH_SETTINGS_SUCCESS;
	}

	_adc_floor[ch_num] = new_value;
	LOG_INF("Set ADC_FLOOR_CH%d to %d", ch_num, _adc_floor[ch_num]);
	wake_system_thread();
	return GOLIOTH_SETTINGS_SUCCESS;
}

void app_settings_register(struct golioth_client *client)
{
	int err;
	struct golioth_settings *settings = golioth_settings_init(client);

	err = golioth_settings_register_int_with_range(settings,
							   "LOOP_DELAY_S",
							   LOOP_DELAY_S_MIN,
							   LOOP_DELAY_S_MAX,
							   on_loop_delay_setting,
							   NULL);

	if (err) {
		LOG_ERR("Failed to register loop delay settings callback: %d", err);
	}

	err = golioth_settings_register_int_with_range(settings,
							   "ADC_FLOOR_CH0",
							   ADC_FLOOR_MIN,
							   ADC_FLOOR_MAX,
							   on_adc_floor_setting,
							   (void *)0);

	if (err) {
		LOG_ERR("Failed to register ADC_FLOOR_CH0 settings callback: %d", err);
	}

	err = golioth_settings_register_int_with_range(settings,
							   "ADC_FLOOR_CH1",
							   ADC_FLOOR_MIN,
							   ADC_FLOOR_MAX,
							   on_adc_floor_setting,
							   (void *)1);

	if (err) {
		LOG_ERR("Failed to register ADC_FLOOR_CH1 settings callback: %d", err);
	}
}
```

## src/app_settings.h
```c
/*
 * Copyright (c) 2022-2023 Golioth, Inc.
 *
 * SPDX-License-Identifier: Apache-2.0
 */

/**
 * Process changes received from the Golioth Settings Service and return a code
 * to Golioth to indicate the success or failure of the update.
 *
 * In this demonstration, the device looks for the `LOOP_DELAY_S` key from the
 * Settings Service and uses this value to determine the delay between sensor
 * reads (the period of sleep in the loop of `main.c`.
 *
 * https://docs.golioth.io/firmware/zephyr-device-sdk/device-settings-service
 */

#ifndef __APP_SETTINGS_H__
#define __APP_SETTINGS_H__

#include <stdint.h>
#include <golioth/client.h>

int32_t get_loop_delay_s(void);
int16_t get_adc_floor(uint8_t ch_num);
void app_settings_register(struct golioth_client *client);

#endif /* __APP_SETTINGS_H__ */
```

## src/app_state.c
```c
/*
 * Copyright (c) 2022-2023 Golioth, Inc.
 *
 * SPDX-License-Identifier: Apache-2.0
 */

#include <zephyr/logging/log.h>
LOG_MODULE_REGISTER(app_state, LOG_LEVEL_DBG);

#include <golioth/client.h>
#include <golioth/lightdb_state.h>
#include <zcbor_encode.h>
#include <zcbor_decode.h>
#include <zephyr/kernel.h>

#include "app_state.h"
#include "app_sensors.h"

#define LIVE_RUNTIME_FMT "{\"live_runtime\":{\"ch0\":%lld,\"ch1\":%lld}"
#define CUMULATIVE_RUNTIME_FMT ",\"cumulative\":{\"ch0\":%lld,\"ch1\":%lld}}"
#define DEVICE_STATE_FMT LIVE_RUNTIME_FMT "}"
#define DEVICE_STATE_FMT_CUMULATIVE LIVE_RUNTIME_FMT CUMULATIVE_RUNTIME_FMT
#define DESIRED_RESET_KEY "reset_cumulative"

uint32_t _example_int0;
uint32_t _example_int1 = 1;

static struct golioth_client *client;

static struct ontime ot;

static void async_handler(struct golioth_client *client,
			  enum golioth_status status,
			  const struct golioth_coap_rsp_code *coap_rsp_code,
			  const char *path,
			  void *arg)
{
	if (status != GOLIOTH_OK) {
		LOG_WRN("Failed to set state: %d", status);
		return;
	}

	LOG_DBG("State successfully set");
}

/* Forward declaration */
static void app_state_desired_handler(struct golioth_client *client, enum golioth_status status,
				      const struct golioth_coap_rsp_code *coap_rsp_code,
				      const char *path, const uint8_t *payload, size_t payload_size,
				      void *arg);

int app_state_reset_desired(void)
{
	uint8_t cbor_payload[32];
	bool ok;

	ZCBOR_STATE_E(encoding_state, 16, cbor_payload, sizeof(cbor_payload), 0);
	ok = zcbor_map_start_encode(encoding_state, 2) &&
	     zcbor_tstr_put_lit(encoding_state, DESIRED_RESET_KEY) &&
	     zcbor_bool_put(encoding_state, false) &&
	     zcbor_map_end_encode(encoding_state, 2);

	if (!ok) {
		LOG_ERR("Error encoding CBOR to reset desired endpoint");
		return -ENODATA;
	}

	LOG_HEXDUMP_DBG(cbor_payload, encoding_state->payload - cbor_payload, "cbor_payload");

	int err;
	err = golioth_lightdb_set_async(client,
					APP_STATE_DESIRED_ENDP,
					GOLIOTH_CONTENT_TYPE_CBOR,
					cbor_payload,
					encoding_state->payload - cbor_payload,
					async_handler,
					NULL);
	if (err) {
		LOG_ERR("Unable to write to LightDB State: %d", err);
		return err;
	}
	return 0;
}

int app_state_observe(struct golioth_client *state_client)
{
	client = state_client;

	app_state_update_actual();

	char observe_path[64];

	snprintk(observe_path, sizeof(observe_path), "%s/%s", APP_STATE_DESIRED_ENDP,
		 DESIRED_RESET_KEY);
	int err = golioth_lightdb_observe_async(client,
						observe_path,
						GOLIOTH_CONTENT_TYPE_JSON,
						app_state_desired_handler,
						NULL);
	if (err) {
		LOG_WRN("failed to observe lightdb path: %d", err);
	}
	return err;
}

int app_state_update_actual(void)
{
	get_ontime(&ot);
	char sbuf[sizeof(DEVICE_STATE_FMT) + 10]; /* space for uint16 values */

	snprintk(sbuf, sizeof(sbuf), DEVICE_STATE_FMT, ot.ch0, ot.ch1);

	int err;

	err = golioth_lightdb_set_async(client,
					APP_STATE_ACTUAL_ENDP,
					GOLIOTH_CONTENT_TYPE_JSON,
					sbuf,
					strlen(sbuf),
					async_handler,
					NULL);

	if (err) {
		LOG_ERR("Unable to write to LightDB State: %d", err);
	}
	return err;
}

int app_state_report_ontime(adc_node_t *ch0, adc_node_t *ch1)
{
	int err;
	char json_buf[128];

	if (k_sem_take(&adc_data_sem, K_MSEC(300)) == 0) {

		if (ch0->loaded_from_cloud) {
			snprintk(json_buf,
				 sizeof(json_buf),
				 DEVICE_STATE_FMT_CUMULATIVE,
				 ch0->runtime,
				 ch1->runtime,
				 ch0->total_cloud + ch0->total_unreported,
				 ch1->total_cloud + ch1->total_unreported);
		} else {
			snprintk(json_buf,
				 sizeof(json_buf),
				 DEVICE_STATE_FMT,
				 ch0->runtime,
				 ch1->runtime);
			/* Cumulative not yet loaded from LightDB State */
			/* Try to load it now */
			app_work_on_connect();
		}

		err = golioth_lightdb_set_async(client,
						APP_STATE_ACTUAL_ENDP,
						GOLIOTH_CONTENT_TYPE_JSON,
						json_buf,
						strlen(json_buf),
						async_handler,
						NULL);
		if (err) {
			LOG_ERR("Failed to send sensor data to Golioth: %d", err);
			k_sem_give(&adc_data_sem);
			return err;
		} else {
			if (ch0->loaded_from_cloud) {
				ch0->total_cloud += ch0->total_unreported;
				ch0->total_unreported = 0;
				ch1->total_cloud += ch1->total_unreported;
				ch1->total_unreported = 0;
			}
		}
		k_sem_give(&adc_data_sem);
	} else {
		return -EACCES;
	}

	return 0;
}

static void app_state_desired_handler(struct golioth_client *client, enum golioth_status status,
				      const struct golioth_coap_rsp_code *coap_rsp_code,
				      const char *path, const uint8_t *payload, size_t payload_size,
				      void *arg)
{
	if (status != GOLIOTH_OK) {
		LOG_ERR("Failed to receive '%s' endpoint: %d", APP_STATE_DESIRED_ENDP, status);
		return;
	}

	LOG_HEXDUMP_DBG(payload, payload_size, APP_STATE_DESIRED_ENDP);

	if (strncmp(payload, "false", strlen("false")) == 0) {
		return;
	} else if (strncmp(payload, "true", strlen("true")) == 0) {
		LOG_INF("Request to reset cumulative values received. Processing now.");
		reset_cumulative_totals();
		app_state_reset_desired();
	} else {
		LOG_ERR("Desired State Decoding Error");
		LOG_HEXDUMP_ERR(payload, payload_size, "desired_state");
		app_state_reset_desired();
		return;
	}
}
```

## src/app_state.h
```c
/*
 * Copyright (c) 2022-2023 Golioth, Inc.
 *
 * SPDX-License-Identifier: Apache-2.0
 */

/** Observe and write to example endpoints for stateful data on the Golioth
 * LightDB State Service.
 *
 * This demonstration exhibits (the concept of Digital
 * Twin)[https://blog.golioth.io/better-iot-design-patterns-desired-state-vs-actual-state/].
 * It implements a _desired_ state which the cloud can set to request the device
 * change its state, and an _actual_ state where the device reports its state.
 *
 * After receiving and processing a desired state, the device will reset the
 * desired state (`APP_STATE_DESIRED_ENDP`) to `-1` indicating the data has been
 * processed, and update the actual state (`APP_STATE_ACTUAL_ENDP`) to report
 * the new state of the device.
 *
 * The device should write to the _actual state_ endpoint, the cloud should not.
 * By convention the cloud should consider the _actual state_ values read-only.
 *
 * https://docs.golioth.io/firmware/zephyr-device-sdk/light-db/
 */

#ifndef __APP_STATE_H__
#define __APP_STATE_H__

#include <golioth/client.h>
#include "app_sensors.h"

#define APP_STATE_DESIRED_ENDP "desired"
#define APP_STATE_ACTUAL_ENDP  "state"

int app_state_observe(struct golioth_client *state_client);
int app_state_update_actual(void);
int app_state_report_ontime(adc_node_t *ch0, adc_node_t *ch1);

#endif /* __APP_STATE_H__ */
```

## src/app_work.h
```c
/*
 * Copyright (c) 2022 Golioth, Inc.
 *
 * SPDX-License-Identifier: Apache-2.0
 */

#ifndef __APP_WORK_H__
#define __APP_WORK_H__

#include <stdint.h>
#include <zephyr/drivers/spi.h>
#include <net/golioth/system_client.h>

extern struct k_sem adc_data_sem;

struct ontime {
	uint64_t ch0;
	uint64_t ch1;
};

typedef struct {
	const struct  device *const dev;
	uint8_t ch_num;
	int64_t laston;
	uint64_t runtime;
	uint64_t total_unreported;
	uint64_t total_cloud;
	bool loaded_from_cloud;
	bool device_ready;
} adc_node_t;

typedef struct {
	int16_t current;
	int16_t voltage;
	uint16_t power;
} vcp_raw_t;

void get_ontime(struct ontime *ot);
int reset_cumulative_totals(void);
void app_work_init(struct golioth_client *work_client);
void app_work_on_connect(void);
void app_work_sensor_read(void);

#define LABEL_UP_COUNTER "Counter"
#define LABEL_DN_COUNTER "Anti-counter"
#define LABEL_BATTERY	 "Battery"
#define LABEL_FIRMWARE	 "Firmware"
#define SUMMARY_TITLE	 "Channel 0:"

/**
 * Each Ostentus slide needs a unique key. You may add additional slides by
 * inserting elements with the name of your choice to this enum.
 */
typedef enum {
	CH0_CURRENT,
	CH0_POWER,
	CH0_VOLTAGE,
	CH1_CURRENT,
	CH1_POWER,
	CH1_VOLTAGE,
#ifdef CONFIG_ALUDEL_BATTERY_MONITOR
	BATTERY_V,
	BATTERY_LVL,
#endif
	FIRMWARE
}slide_key;

/* Ostentus slide labels */
#define CH0_CUR_LABEL "Current ch0"
#define CH0_VOL_LABEL "Voltage ch0"
#define CH0_POW_LABEL "Power ch0"
#define CH1_CUR_LABEL "Current ch1"
#define CH1_VOL_LABEL "Voltage ch1"
#define CH1_POW_LABEL "Power ch1"

#endif /* __APP_WORK_H__ */
```
